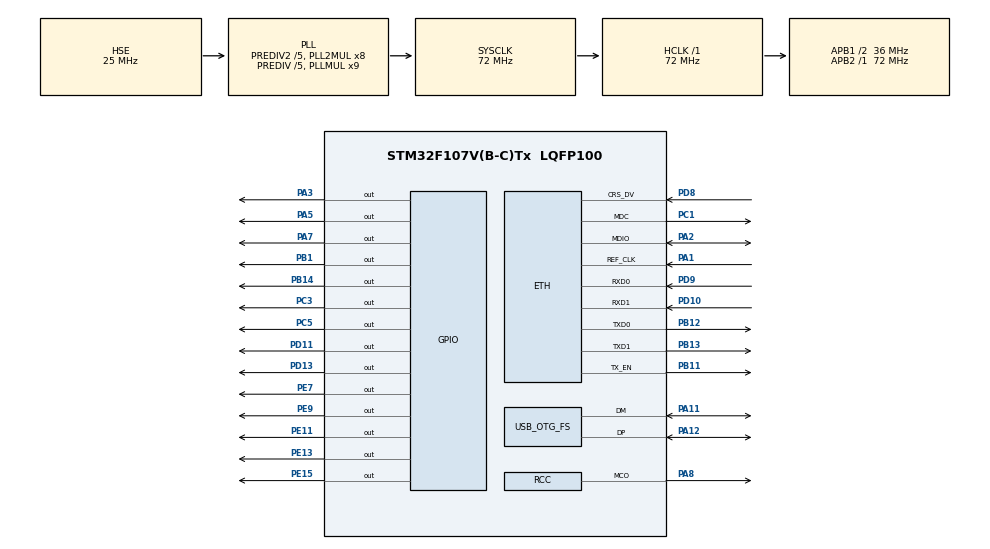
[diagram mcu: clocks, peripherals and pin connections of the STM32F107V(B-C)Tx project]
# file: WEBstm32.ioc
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ETH.MACAddr=AA\:EE\:25\:04\:20\:03
ETH.MediaInterface=ETH_MEDIA_INTERFACE_RMII
ETH.PHY_Name_RMII=userPHY
ETH.PHY_User_Name=KSZ8721bl
LWIP.GATEWAY_ADDRESS=192.168.000.001
LWIP.IP_ADDRESS=192.168.000.108
LWIP.LWIP_DHCP=0
LWIP.LWIP_DNS=1
LWIP.LWIP_HTTPD=0
LWIP.MEMP_NUM_TCP_SEG=24
LWIP.NETMASK_ADDRESS=255.255.255.000
LWIP.TCP_SND_BUF=1840
LWIP.Version=v2.0.3_Cube
Mcu.Family=STM32F1
Mcu.Name=STM32F107V(B-C)Tx
Mcu.Package=LQFP100
NVIC.OTG_FS_IRQn=true\:0\:0\:false\:false\:true\:false\:true\:true
NVIC.PriorityGroup=NVIC_PRIORITYGROUP_4
OSC_IN.Mode=HSE-External-Oscillator
OSC_IN.Signal=RCC_OSC_IN
OSC_OUT.Mode=HSE-External-Oscillator
OSC_OUT.Signal=RCC_OSC_OUT
PA1.Mode=RMII
PA1.Signal=ETH_REF_CLK
PA11.Mode=Device_Only
PA11.Signal=USB_OTG_FS_DM
PA12.Mode=Device_Only
PA12.Signal=USB_OTG_FS_DP
PA13.Mode=JTAG_5_pins
PA13.Signal=SYS_JTMS-SWDIO
PA14.Mode=JTAG_5_pins
PA14.Signal=SYS_JTCK-SWCLK
PA15.Mode=JTAG_5_pins
PA15.Signal=SYS_JTDI
PA2.Mode=RMII
PA2.Signal=ETH_MDIO
PA3.GPIO_Speed=GPIO_SPEED_FREQ_HIGH
PA3.Signal=GPIO_Output
PA5.GPIO_Speed=GPIO_SPEED_FREQ_HIGH
PA5.Signal=GPIO_Output
PA7.GPIO_Speed=GPIO_SPEED_FREQ_HIGH
PA7.Signal=GPIO_Output
PA8.GPIO_Speed=GPIO_SPEED_FREQ_HIGH
PA8.Mode=Clock-out
PA8.Signal=RCC_MCO
PB1.GPIO_Speed=GPIO_SPEED_FREQ_HIGH
PB1.Signal=GPIO_Output
PB11.Mode=RMII
PB11.Signal=ETH_TX_EN
PB12.Mode=RMII
PB12.Signal=ETH_TXD0
PB13.Mode=RMII
PB13.Signal=ETH_TXD1
PB14.GPIO_Speed=GPIO_SPEED_FREQ_HIGH
PB14.Signal=GPIO_Output
PB3.Mode=JTAG_5_pins
PB3.Signal=SYS_JTDO
PB4.Mode=JTAG_5_pins
PB4.Signal=SYS_NJTRST
PC1.Mode=RMII
PC1.Signal=ETH_MDC
PC3.GPIO_Speed=GPIO_SPEED_FREQ_HIGH
PC3.Signal=GPIO_Output
PC5.GPIO_Speed=GPIO_SPEED_FREQ_HIGH
PC5.Signal=GPIO_Output
PD10.Mode=RMII
PD10.Signal=ETH_RXD1
PD11.GPIO_Speed=GPIO_SPEED_FREQ_HIGH
PD11.Signal=GPIO_Output
PD13.GPIO_Speed=GPIO_SPEED_FREQ_HIGH
PD13.Signal=GPIO_Output
PD8.Mode=RMII
PD8.Signal=ETH_CRS_DV
PD9.Mode=RMII
PD9.Signal=ETH_RXD0
PE11.GPIO_Speed=GPIO_SPEED_FREQ_HIGH
PE11.Signal=GPIO_Output
PE13.GPIO_Speed=GPIO_SPEED_FREQ_HIGH
PE13.Signal=GPIO_Output
PE15.GPIO_Speed=GPIO_SPEED_FREQ_HIGH
PE15.Signal=GPIO_Output
PE7.GPIO_Speed=GPIO_SPEED_FREQ_HIGH
PE7.Signal=GPIO_Output
PE9.GPIO_Speed=GPIO_SPEED_FREQ_HIGH
PE9.Signal=GPIO_Output
ProjectManager.HeapSize=0x200
ProjectManager.StackSize=0x400
ProjectManager.TargetToolchain=STM32CubeIDE
RCC.AHBFreq_Value=72000000
RCC.APB1CLKDivider=RCC_HCLK_DIV2
RCC.APB1Freq_Value=36000000
RCC.APB1TimFreq_Value=72000000
RCC.APB2Freq_Value=72000000
RCC.APB2TimFreq_Value=72000000
RCC.HCLKFreq_Value=72000000
RCC.HSEDivPLL=RCC_HSE_PREDIV_DIV5
RCC.HSE_VALUE=25000000
RCC.PLL3Mul=RCC_PLLI2S_MUL10
RCC.PLLMUL=RCC_PLL_MUL9
RCC.PLLSourceVirtual=RCC_PLLSOURCE_HSE
RCC.Prediv1Source=RCC_PREDIV1_SOURCE_PLL2
RCC.Prediv2=RCC_HSE_PREDIV2_DIV5
RCC.RCC_MCOSource=RCC_MCO1SOURCE_PLL3CLK
RCC.SYSCLKFreq_VALUE=72000000
RCC.SYSCLKSource=RCC_SYSCLKSOURCE_PLLCLK
RCC.USBFreq_Value=48000000
USB_DEVICE.CLASS_NAME_FS=CDC
USB_DEVICE.USBD_MAX_STR_DESC_SIZ=256
USB_DEVICE.VirtualMode=Cdc
USB_DEVICE.VirtualModeFS=Cdc_FS
USB_OTG_FS.VirtualMode=Device_Only
VP_LWIP_VS_Enabled.Mode=Enabled
VP_USB_DEVICE_VS_USB_DEVICE_CDC_FS.Mode=CDC_FS
board=custom

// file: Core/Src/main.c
/* USER CODE BEGIN Header */
/**
  ******************************************************************************
  * @file           : main.c
  * @brief          : Main program body
  ******************************************************************************
  * @attention
  *
  * Copyright (c) 2024 STMicroelectronics.
  * All rights reserved.
  *
  * This software is licensed under terms that can be found in the LICENSE file
  * in the root directory of this software component.
  * If no LICENSE file comes with this software, it is provided AS-IS.
  *
  ******************************************************************************
  */
/* USER CODE END Header */
#ifndef __UVN
#include "UVN.h"
#endif

#include "main.h"
#include "lwip.h"
#include "usb_device.h"

/* USER CODE BEGIN Includes */
#include "tcpServerRAW.h"
#include "Flash.h"

/* USER CODE END Includes */

void SystemClock_Config(void);
static void MX_GPIO_Init(void);

/* USER CODE BEGIN 0 */
const u8_t base_ipad[4] = {192,168,1,108};
const u8_t base_mask[4] = {255,255,255,0};
const u8_t base_gw	[4] = {192,168,1,1};
const u16_t base_port = 9500;
/* USER CODE END 0 */

int main(void)
{

  /* MCU Configuration--------------------------------------------------------*/

  /* Reset of all peripherals, Initializes the Flash interface and the Systick. */
	HAL_Init();

  /* Configure the system clock */
  SystemClock_Config();
  void f_reset()
  {
	  for(uint8_t t = 0;t<5;t++)
	  {
		  HAL_Delay(1000);
		  if(HAL_GPIO_ReadPin(GPIOB, GPIO_PIN_14) == 1)
		  {
			  if(t==4)
			  {
					flash_erase();
					NVIC_SystemReset();
			  }
		  }
		  else
		  {
			  t=5;
		  }
	  }
  }
  void usbwait()
  {
	  uint8_t arr[65];
	 		  memcpy(arr, GetBuf(), 64);
	 		  if(arr[0]==7)
	 		  	{
	 			  uint8_t *output_buf = GetFunc(arr);
	 		  	  CDC_Transmit_FS(output_buf, 65);
	 		  	}
	 		  else if(arr[0]==5)
	 		  	{
	 		  	  CDC_Transmit_FS(0x1, 2);
	 			  SetUSBF(0);
	 		  	  uint8_t f=1;
	 		  	  while(f)
	 		  	  {
	 		  		  if(GetUSBF() == 1)
	 		  		  {
	 		  			 memcpy(&arr[64], GetBuf(), 1);
	 		  			f=0;
	 		  		  }
	 		  	  }
	 			  uint8_t *output_buf = GetFunc(arr);
	 		  	  CDC_Transmit_FS(output_buf, 2);
	 		  	}
	 		  	else
	 		  	{
	 			uint8_t *output_buf = GetFunc(arr);
	 		  	  CDC_Transmit_FS(output_buf, 2);
	 		  	}
	 		  SetUSBF(0);
  }
  /* Initialize all configured peripherals */
  MX_GPIO_Init();
  /* USER CODE BEGIN 2 */
  {
	uint32_t rel_32[16];
	uint8_t * rel_8;
	uint8_t k;
	for(uint8_t i = 0;i<16;i++)
	{
		rel_32[i] = FlashRead(FLASH_RELAY+(i*4));
	}
	rel_8 = & rel_32;
	uvnInit(rel_8);

  }
  {
	  uint8_t ipad[4]={0,0,0,0};
	  uint8_t mask[4]={0,0,0,0};
	  uint8_t gw[4]={0,0,0,0};
	  uint16_t port;

	 if(FlashRead(FLASH_NET_DETAILS) == VOID)
	    {
		 ipad[0]=base_ipad[0];
		 ipad[1]=base_ipad[1];
		 ipad[2]=base_ipad[2];
		 ipad[3]=base_ipad[3];
		 mask[0]=base_mask[0];
		 mask[1]=base_mask[1];
		 mask[2]=base_mask[2];
		 mask[3]=base_mask[3];
		 gw[0]=base_gw[0];
		 gw[1]=base_gw[1];
		 gw[2]=base_gw[2];
		 gw[3]=base_gw[3];
		 port = base_port;
	    }

	else
	 	 {
		 uint32_t n_ip = FlashRead(FLASH_NET_DETAILS);
		 uint32_t n_mask = FlashRead(FLASH_NET_DETAILS+4);
		 uint32_t n_gw = FlashRead(FLASH_NET_DETAILS+8);
		 port = FlashRead(FLASH_NET_DETAILS+12);
		 uint16_t flg = FlashRead(FLASH_NET_DETAILS+14);
		 uint8_t * ip= & n_ip;
		 uint8_t * msk= & n_mask;
		 uint8_t * g_w= & n_gw;
		 ipad[0]=ip[0];
		 ipad[1]=ip[1];
		 ipad[2]=ip[2];
		 ipad[3]=ip[3];
		 mask[0]=msk[0];
		 mask[1]=msk[1];
		 mask[2]=msk[2];
		 mask[3]=msk[3];
		 gw[0]=g_w[0];
		 gw[1]=g_w[1];
		 gw[2]=g_w[2];
		 gw[3]=g_w[3];
	 	 }
	  MX_LWIP_Init(ipad,mask,gw);
	  tcp_server_init(ipad, port);

  }
  MX_USB_DEVICE_Init();
  /* USER CODE END 2 */

  /* Infinite loop */
  while(1)
  {
	  MX_LWIP_Process();
	  if(GetUVN_FLAGS() & 0b00000001)
	  {
		  usbwait();
	  }
	  if(HAL_GPIO_ReadPin(GPIOB, GPIO_PIN_14) == 1)
	  {
		  f_reset();
	  }
	  if(GetUVN_FLAGS() & 0b00000010)
	  {
		  set_fault(GetFUTURE_RELAY() + GetINDX_FUTURE() *64);
		  IncINDX_FUTURE();
		  SetExSigF();
	  }

  }
}

void SystemClock_Config(void)
{
  RCC_OscInitTypeDef RCC_OscInitStruct = {0};
  RCC_ClkInitTypeDef RCC_ClkInitStruct = {0};
  RCC_PeriphCLKInitTypeDef PeriphClkInit = {0};

  /** Initializes the RCC Oscillators according to the specified parameters
  * in the RCC_OscInitTypeDef structure.
  */
  RCC_OscInitStruct.OscillatorType = RCC_OSCILLATORTYPE_HSE;
  RCC_OscInitStruct.HSEState = RCC_HSE_ON;
  RCC_OscInitStruct.HSEPredivValue = RCC_HSE_PREDIV_DIV5;
  RCC_OscInitStruct.HSIState = RCC_HSI_ON;
  RCC_OscInitStruct.Prediv1Source = RCC_PREDIV1_SOURCE_PLL2;
  RCC_OscInitStruct.PLL.PLLState = RCC_PLL_ON;
  RCC_OscInitStruct.PLL.PLLSource = RCC_PLLSOURCE_HSE;
  RCC_OscInitStruct.PLL.PLLMUL = RCC_PLL_MUL9;
  RCC_OscInitStruct.PLL2.PLL2State = RCC_PLL2_ON;
  RCC_OscInitStruct.PLL2.PLL2MUL = RCC_PLL2_MUL8;
  RCC_OscInitStruct.PLL2.HSEPrediv2Value = RCC_HSE_PREDIV2_DIV5;
  if (HAL_RCC_OscConfig(&RCC_OscInitStruct) != HAL_OK)
  {
    Error_Handler();
  }

  /** Initializes the CPU, AHB and APB buses clocks
  */
  RCC_ClkInitStruct.ClockType = RCC_CLOCKTYPE_HCLK|RCC_CLOCKTYPE_SYSCLK
                              |RCC_CLOCKTYPE_PCLK1|RCC_CLOCKTYPE_PCLK2;
  RCC_ClkInitStruct.SYSCLKSource = RCC_SYSCLKSOURCE_PLLCLK;
  RCC_ClkInitStruct.AHBCLKDivider = RCC_SYSCLK_DIV1;
  RCC_ClkInitStruct.APB1CLKDivider = RCC_HCLK_DIV2;
  RCC_ClkInitStruct.APB2CLKDivider = RCC_HCLK_DIV1;

  if (HAL_RCC_ClockConfig(&RCC_ClkInitStruct, FLASH_LATENCY_2) != HAL_OK)
  {
    Error_Handler();
  }
  PeriphClkInit.PeriphClockSelection = RCC_PERIPHCLK_USB;
  PeriphClkInit.UsbClockSelection = RCC_USBCLKSOURCE_PLL_DIV3;
  PeriphClkInit.PLLI2S.PLLI2SMUL = RCC_PLLI2S_MUL10;
  PeriphClkInit.PLLI2S.HSEPrediv2Value = RCC_HSE_PREDIV2_DIV5;
  if (HAL_RCCEx_PeriphCLKConfig(&PeriphClkInit) != HAL_OK)
  {
    Error_Handler();
  }
  HAL_RCC_MCOConfig(RCC_MCO, RCC_MCO1SOURCE_PLL3CLK, RCC_MCODIV_1);

  /** Configure the Systick interrupt time
  */
  __HAL_RCC_HSE_PREDIV2_CONFIG(RCC_HSE_PREDIV2_DIV5);

  /** Configure the Systick interrupt time
  */
  __HAL_RCC_PLLI2S_CONFIG(RCC_PLLI2S_MUL10);

  /** Configure the Systick interrupt time
  */
  __HAL_RCC_PLLI2S_ENABLE();
}

static void MX_GPIO_Init(void)
{
  GPIO_InitTypeDef GPIO_InitStruct = {0};

  /* GPIO Ports Clock Enable */
  __HAL_RCC_GPIOC_CLK_ENABLE();
  __HAL_RCC_GPIOA_CLK_ENABLE();
  __HAL_RCC_GPIOB_CLK_ENABLE();
  __HAL_RCC_GPIOE_CLK_ENABLE();
  __HAL_RCC_GPIOD_CLK_ENABLE();

  /*Configure GPIO pin Output Level */
  HAL_GPIO_WritePin(GPIOC, GPIO_PIN_3|GPIO_PIN_5, GPIO_PIN_RESET);

  /*Configure GPIO pin Output Level */
  HAL_GPIO_WritePin(GPIOA, GPIO_PIN_3|GPIO_PIN_5|GPIO_PIN_7, GPIO_PIN_RESET);

  /*Configure GPIO pin Output Level */
  HAL_GPIO_WritePin(GPIOB, GPIO_PIN_1|GPIO_PIN_14, GPIO_PIN_RESET);

  /*Configure GPIO pin Output Level */
  HAL_GPIO_WritePin(GPIOE, GPIO_PIN_7|GPIO_PIN_9|GPIO_PIN_11|GPIO_PIN_13
                          |GPIO_PIN_15, GPIO_PIN_RESET);

  /*Configure GPIO pin Output Level */
  HAL_GPIO_WritePin(GPIOD, GPIO_PIN_11, GPIO_PIN_RESET);

  GPIO_InitStruct.Pin = GPIO_PIN_13;
  GPIO_InitStruct.Mode = GPIO_MODE_IT_RISING;
  GPIO_InitStruct.Pull =  GPIO_PULLDOWN;
  GPIO_InitStruct.Speed = GPIO_SPEED_FREQ_HIGH;
  HAL_GPIO_Init(GPIOD, &GPIO_InitStruct);

  GPIO_InitStruct.Pin = GPIO_PIN_14;
  GPIO_InitStruct.Mode = GPIO_MODE_INPUT;
  GPIO_InitStruct.Pull = GPIO_NOPULL;
  GPIO_InitStruct.Speed = GPIO_SPEED_FREQ_HIGH;
  HAL_GPIO_Init(GPIOB, &GPIO_InitStruct);

  GPIO_InitStruct.Pin = GPIO_PIN_11;
  GPIO_InitStruct.Mode = GPIO_MODE_INPUT;
  GPIO_InitStruct.Pull = GPIO_NOPULL;
  GPIO_InitStruct.Speed = GPIO_SPEED_FREQ_HIGH;
  HAL_GPIO_Init(GPIOD, &GPIO_InitStruct);

  GPIO_InitStruct.Pin = GPIO_PIN_12;
  GPIO_InitStruct.Mode = GPIO_MODE_OUTPUT_PP;
  GPIO_InitStruct.Pull = GPIO_NOPULL;
  GPIO_InitStruct.Speed = GPIO_SPEED_FREQ_HIGH;
  HAL_GPIO_Init(GPIOA, &GPIO_InitStruct);

  /*Configure GPIO pins : PC3 PC5 */
  GPIO_InitStruct.Pin = GPIO_PIN_3|GPIO_PIN_5;
  GPIO_InitStruct.Mode = GPIO_MODE_OUTPUT_PP;
  GPIO_InitStruct.Pull = GPIO_NOPULL;
  GPIO_InitStruct.Speed = GPIO_SPEED_FREQ_HIGH;
  HAL_GPIO_Init(GPIOC, &GPIO_InitStruct);

  /*Configure GPIO pins : PA3 PA5 PA7 */
  GPIO_InitStruct.Pin = GPIO_PIN_3|GPIO_PIN_5|GPIO_PIN_7;
  GPIO_InitStruct.Mode = GPIO_MODE_OUTPUT_PP;
  GPIO_InitStruct.Pull = GPIO_NOPULL;
  GPIO_InitStruct.Speed = GPIO_SPEED_FREQ_HIGH;
  HAL_GPIO_Init(GPIOA, &GPIO_InitStruct);

  /*Configure GPIO pins : PB1 PB14 */
  GPIO_InitStruct.Pin = GPIO_PIN_1|GPIO_PIN_14;
  GPIO_InitStruct.Mode = GPIO_MODE_OUTPUT_PP;
  GPIO_InitStruct.Pull = GPIO_NOPULL;
  GPIO_InitStruct.Speed = GPIO_SPEED_FREQ_HIGH;
  HAL_GPIO_Init(GPIOB, &GPIO_InitStruct);

  /*Configure GPIO pins : PE7 PE9 PE11 PE13
                           PE15 */
  GPIO_InitStruct.Pin = GPIO_PIN_7|GPIO_PIN_9|GPIO_PIN_11|GPIO_PIN_13
                          |GPIO_PIN_15;
  GPIO_InitStruct.Mode = GPIO_MODE_OUTPUT_PP;
  GPIO_InitStruct.Pull = GPIO_NOPULL;
  GPIO_InitStruct.Speed = GPIO_SPEED_FREQ_HIGH;
  HAL_GPIO_Init(GPIOE, &GPIO_InitStruct);

  /*Configure GPIO pins : PD11 */
  GPIO_InitStruct.Pin = GPIO_PIN_11;
  GPIO_InitStruct.Mode = GPIO_MODE_OUTPUT_PP;
  GPIO_InitStruct.Pull = GPIO_NOPULL;
  GPIO_InitStruct.Speed = GPIO_SPEED_FREQ_HIGH;
  HAL_GPIO_Init(GPIOD, &GPIO_InitStruct);

  /*Configure GPIO pin : PA8 */
  GPIO_InitStruct.Pin = GPIO_PIN_8;
  GPIO_InitStruct.Mode = GPIO_MODE_AF_PP;
  GPIO_InitStruct.Speed = GPIO_SPEED_FREQ_HIGH;
  HAL_GPIO_Init(GPIOA, &GPIO_InitStruct);

  /* EXTI interrupt init*/
  HAL_NVIC_SetPriority(EXTI15_10_IRQn, 0, 0);
  HAL_NVIC_EnableIRQ(EXTI15_10_IRQn);
}

/* USER CODE BEGIN 4 */
void HAL_GPIO_EXTI_Callback(uint16_t GPIO_PIN)
{
//	SetExSigF();
}

/* USER CODE END 4 */

void Error_Handler(void)
{
  __disable_irq();
  while (1)
  {
  }
}
